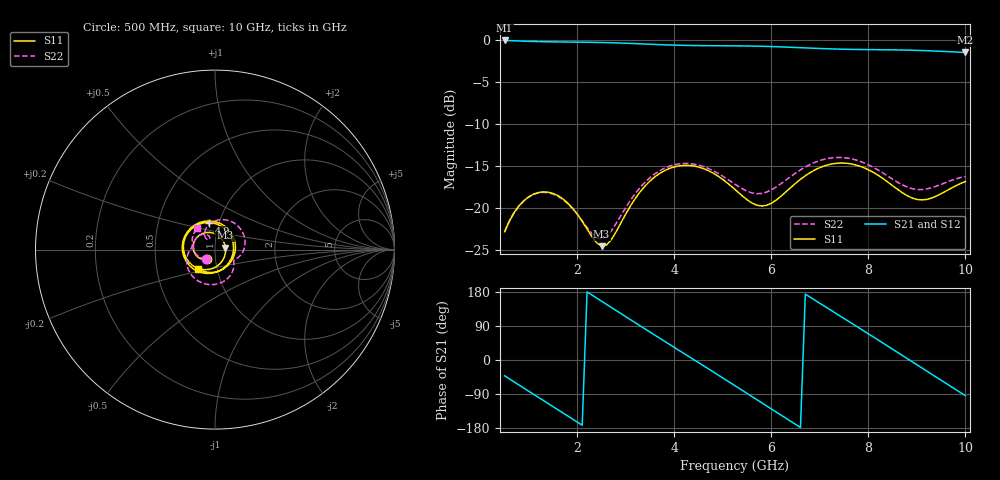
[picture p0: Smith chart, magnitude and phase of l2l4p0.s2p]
! Touchstone file exported from HFSS 3D Layout Design 2026.1.0
!  File:  D:/Work/ADS/HFSS_VERDICT/hfss_sma_connector_cpw.aedt
!  Generated:  02:05:48 PM Aug  6, 2026
!  Design:  SINGLE_END_SMA_CPW_30MM
!  Project:  hfss_sma_connector_cpw
! Variables:
!  $sma_Base_D = 6.25mm
!  $sma_Base_L = 8mm
!  $sma_Feet_L = 4mm
!  $sma_Feet_W = 1mm
!  $sma_Front_L = 1.5mm
!  $sma_Front_W = 6.5mm
!  $sma_Hole_D = 1.25mm
!  $sma_PTFE_D = 4.2mm
!  $sma_Pin_D = 0.95mm
!  $sma_Pin_P = 1.7mm
# GHz S MA R 50.000000
! Terminal data exported
! Port[1] = Port1
! Port[2] = S1_1_Pin_T1
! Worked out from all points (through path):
!   96 points, 500 MHz to 10 GHz, reference 50 ohm
!   highest |S21| = -0.11 dB at 500 MHz (marker M1); lowest = -1.5 dB at 10 GHz (marker M2)
!   group delay of S21, straight-line fit = 226 ps
!   lowest |S11| = -24.6 dB at 2.5 GHz (marker M3), VSWR 1.13, Z = 56.2 + j1.17 ohm
!   |S11| at or under -10 dB: start of sweep to end of sweep
!   |S22| runs from -23.7 to -14.0 dB; largest |S21 - S12| = 1.5e-14
!   S11 on the Smith chart (normalised r, x): 500 MHz: 0.90, -0.10; 4.9 GHz: 0.90, +0.28; 10 GHz: 0.81, -0.17
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0.5  0.07203 -130.8  0.9875 -41.6  0.9875 -41.6  0.07227 -134.4
0.9  0.1105 -163.4  0.9781 -74.4  0.9781 -74.4  0.1103 -168.5
1.3  0.1245 163.4  0.971 -107.0  0.971 -107.0  0.1236 159.6
1.7  0.1131 127.2  0.9671 -139.5  0.9671 -139.5  0.112 131.7
2.1  0.08317 81.9  0.9645 -172.1  0.9645 -172.1  0.08368 113.9
2.5  0.05921 10.1  0.9604 155.1  0.9604 155.1  0.06534 120.7
3.1  0.1033 -94.4  0.9482 106.0  0.9482 106.0  0.1115 121.1
3.7  0.1603 -153.5  0.9328 57.3  0.9328 57.3  0.1664 83.8
4.3  0.1787 155.9  0.9223 9.0  0.9223 9.0  0.1833 39.8
4.9  0.1544 102.4  0.9185 -39.4  0.9185 -39.4  0.1604 -0.4
5.3  0.1248 59.0  0.917 -71.9  0.917 -71.9  0.1352 -19.6
5.7  0.1037 3.3  0.9134 -104.6  0.9134 -104.6  0.1213 -29.6
6.2  0.1174 -71.5  0.9043 -145.5  0.9043 -145.5  0.1393 -41.2
6.5  0.14 -108.0  0.897 -169.9  0.897 -169.9  0.1609 -54.6
6.9  0.1682 -148.8  0.8869 157.7  0.8869 157.7  0.1865 -78.1
7.3  0.1834 174.6  0.8787 125.5  0.8787 125.5  0.1989 -104.4
7.7  0.1811 138.6  0.8735 93.3  0.8735 93.3  0.1941 -130.9
8.1  0.1626 100.4  0.8707 61.0  0.8707 61.0  0.1743 -155.0
8.5  0.1355 56.6  0.8684 28.4  0.8684 28.4  0.148 -173.8
9.2  0.1122 -38.9  0.8585 -28.9  0.8585 -28.9  0.1294 167.3
9.6  0.1259 -90.5  0.8488 -61.6  0.8488 -61.6  0.1416 152.6
10  0.1434 -132.3  0.8377 -94.2  0.8377 -94.2  0.1534 130.0
